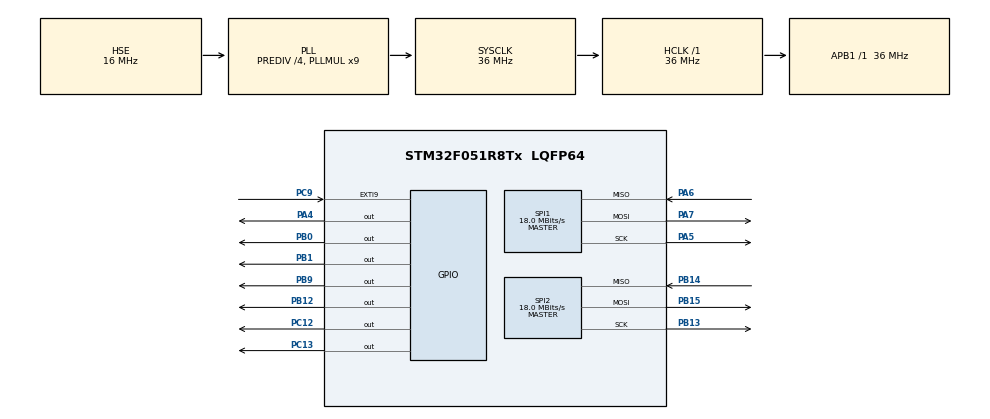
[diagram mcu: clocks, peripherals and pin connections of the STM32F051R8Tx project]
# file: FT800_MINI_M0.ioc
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FATFS._FS_MINIMIZE=1
FATFS._MAX_LFN=128
FATFS._USE_MKFS=0
FATFS._USE_STRFUNC=0
Mcu.Family=STM32F0
Mcu.Name=STM32F051R8Tx
Mcu.Package=LQFP64
NVIC.EXTI4_15_IRQn=true\:0\:0\:false\:false\:true\:true\:true
PA4.GPIO_Speed=GPIO_SPEED_FREQ_HIGH
PA4.Signal=GPIO_Output
PA5.Mode=Full_Duplex_Master
PA5.Signal=SPI1_SCK
PA6.Mode=Full_Duplex_Master
PA6.Signal=SPI1_MISO
PA7.Mode=Full_Duplex_Master
PA7.Signal=SPI1_MOSI
PB0.GPIO_Speed=GPIO_SPEED_FREQ_HIGH
PB0.Signal=GPIO_Output
PB1.GPIO_Speed=GPIO_SPEED_FREQ_HIGH
PB1.Signal=GPIO_Output
PB12.GPIO_Speed=GPIO_SPEED_FREQ_HIGH
PB12.Signal=GPIO_Output
PB13.Mode=Full_Duplex_Master
PB13.Signal=SPI2_SCK
PB14.Mode=Full_Duplex_Master
PB14.Signal=SPI2_MISO
PB15.Mode=Full_Duplex_Master
PB15.Signal=SPI2_MOSI
PB9.GPIO_FM9=__NULL
PB9.GPIO_Speed=GPIO_SPEED_FREQ_HIGH
PB9.Signal=GPIO_Output
PC12.GPIO_Speed=GPIO_SPEED_FREQ_LOW
PC12.Signal=GPIO_Output
PC13.PinState=GPIO_PIN_RESET
PC13.Signal=GPIO_Output
PC9.GPIO_ModeDefaultEXTI=GPIO_MODE_IT_FALLING
PC9.Signal=GPXTI9
PF0-OSC_IN.Mode=HSE-External-Oscillator
PF0-OSC_IN.Signal=RCC_OSC_IN
PF1-OSC_OUT.Mode=HSE-External-Oscillator
PF1-OSC_OUT.Signal=RCC_OSC_OUT
ProjectManager.HeapSize=0x200
ProjectManager.StackSize=0x400
ProjectManager.TargetToolchain=STM32CubeIDE
RCC.AHBFreq_Value=36000000
RCC.APB1Freq_Value=36000000
RCC.APB1TimFreq_Value=36000000
RCC.HCLKFreq_Value=36000000
RCC.HSE_VALUE=16000000
RCC.PLLDivider=RCC_PREDIV_DIV4
RCC.PLLMUL=RCC_PLL_MUL9
RCC.PLLSourceVirtual=RCC_PLLSOURCE_HSE
RCC.SYSCLKFreq_VALUE=36000000
RCC.SYSCLKSource=RCC_SYSCLKSOURCE_PLLCLK
SPI1.BaudRatePrescaler=SPI_BAUDRATEPRESCALER_2
SPI1.CalculateBaudRate=18.0 MBits/s
SPI1.DataSize=SPI_DATASIZE_8BIT
SPI1.Direction=SPI_DIRECTION_2LINES
SPI1.Mode=SPI_MODE_MASTER
SPI1.NSSPMode=SPI_NSS_PULSE_DISABLE
SPI1.VirtualType=VM_MASTER
SPI2.BaudRatePrescaler=SPI_BAUDRATEPRESCALER_2
SPI2.CalculateBaudRate=18.0 MBits/s
SPI2.DataSize=SPI_DATASIZE_8BIT
SPI2.Direction=SPI_DIRECTION_2LINES
SPI2.Mode=SPI_MODE_MASTER
SPI2.NSSPMode=SPI_NSS_PULSE_DISABLE
SPI2.VirtualType=VM_MASTER
VP_FATFS_VS_Generic.Mode=User_defined
board=custom

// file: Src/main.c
/* USER CODE BEGIN Header */
/**
  ******************************************************************************
  * @file           : main.c
  * @brief          : Main program body
  ******************************************************************************
  * @attention
  *
  * <h2><center>&copy; Copyright (c) 2021 STMicroelectronics.
  * All rights reserved.</center></h2>
  *
  * This software component is licensed by ST under BSD 3-Clause license,
  * the "License"; You may not use this file except in compliance with the
  * License. You may obtain a copy of the License at:
  *                        opensource.org/licenses/BSD-3-Clause
  *
  ******************************************************************************
  */
/* USER CODE END Header */

#include "main.h"
#include "fatfs.h"

/* USER CODE BEGIN Includes */
#include "my_delays.h"
#include "string.h"
#include "stdio.h"
#include "FT800_Graphics.h"
#include "FT800_Colors.h"
#include "FT800_Audio.h"
#include "FT800_SD.h"

#include "fatfs.h"
#include "user_diskio.h"
#include "ff.h"
/* USER CODE END Includes */

SPI_HandleTypeDef hspi1;
SPI_HandleTypeDef hspi2;

/* USER CODE BEGIN PV */
//MINI BOARD BUILTIN LEDs
//Set as output in CubeMX
#define DATA_LED(bit) ((bit==1)?(GPIOC->BSRR=(GPIO_PIN_12)):(GPIOC->BSRR=(uint32_t)(GPIO_PIN_12<<16)))
#define STAT_LED(bit) ((bit==1)?(GPIOC->BSRR=(GPIO_PIN_13)):(GPIOC->BSRR=(uint32_t)(GPIO_PIN_13<<16)))
//OPTOLAB BOARD BUILTIN LEDs
//Set as output in CubeMX
#define D5_LED(bit) ((bit==1)?(GPIOB->BSRR=(GPIO_PIN_0)):(GPIOB->BSRR=(uint32_t)(GPIO_PIN_0<<16)))
#define D6_LED(bit) ((bit==1)?(GPIOB->BSRR=(GPIO_PIN_1)):(GPIOB->BSRR=(uint32_t)(GPIO_PIN_1<<16)))
//--------------------------------------

#define MAIN_MENU   (0x01|0x80)
#define PRIMITIVES  (0x02|0x80)
#define BARS        (0x03|0x80)
#define KNOBS       (0x04|0x80)
#define GRADIENT    (0x05|0x80)
#define KEYS        (0x06|0x80)
#define SOUND       (0x07|0x80)
#define BMP         (0x08|0x80)
#define WAV         (0x09|0x80)
#define JPG         (0x0A|0x80)
#define TRANSFORM   (0x0B|0x80)
#define SKETCH      (0x0C|0x80)
#define SCRSAVER    (0x0D|0x80)

#define SLIDER      0x01
#define SCROLL_V    0x02
#define SCROLL_H    0x03
#define DIAL        0x04
#define TOGGLE      0x05
#define KEY         0x06
#define NOTES       0x07
#define SLIDER1     0x08
#define BACKWARD    0x09
#define FORWARD     0x0A
#define NEXT        0x0B
#define PREVIOUS    0x0C
#define PLAY        0x0D
#define SLIDER2     0x0E
#define SCROLL_S    0x0F
#define SCROLL_R    0x10
FATFS myFAT={0};
FRESULT res;
FIL myFile;
char chipid = 0, touched =0;

uint8_t menu=MAIN_MENU, previous_menu=MAIN_MENU, tag;
uint16_t tag_value;

//object variables
uint16_t slider_value=500, scroll_v_value=128, scroll_h_value=256, dial_value=0, toggle_value=0, key_value, prev_key_value;
uint16_t ms=0,sec=0,min=59,hour=11;
uint8_t mute=0;

char MYPath[4];
extern Diskio_drvTypeDef  USER_Driver;
char path[20]={0};

//BMP variables
#define NUM_OF_BMPS 5
const char *bmp_folder="BMP";
const char *bmps[NUM_OF_BMPS]={"im1.bmp","im2.bmp","im3.bmp","im4.bmp","im5.bmp"};
uint8_t bmp_num=1;

//BMP variables
#define NUM_OF_JPGS 5
const char *jpg_folder="JPG";
const char *jpgs[NUM_OF_JPGS]={"jpg1.jpg","jpg2.jpg","jpg3.jpg","jpg4.jpg","jpg5.jpg"};
uint8_t jpg_num=1;

int16_t scale_factor=0, rotate_factor=0;
uint16_t img_width, img_height;
uint8_t img_bytes;

//WAV variables
#define NUM_OF_WAVS 4
const char *wav_folder="WAV";
const char *wavs[NUM_OF_WAVS]={"bells.wav", "dixie.wav","laugh.wav","cowboy.wav"};
uint16_t wav_format, wav_channels, wav_bpc;
uint32_t wav_sample_rate, wav_size;
uint8_t wav_num=0;

uint8_t new_file=0;

char wallpaper[20];
char wallpaper_folder[20];
/* USER CODE END PV */

void SystemClock_Config(void);
static void MX_GPIO_Init(void);
static void MX_SPI1_Init(void);
static void MX_SPI2_Init(void);

/* USER CODE BEGIN 0 */
uint8_t getNote(char key)
{
    uint8_t note=0;

    if(key=='C')note=72;
    if(key=='c')note=73;
    if(key=='D')note=74;
    if(key=='d')note=75;
    if(key=='E')note=76;
    if(key=='F')note=77;
    if(key=='f')note=78;
    if(key=='G')note=79;
    if(key=='g')note=80;
    if(key=='A')note=81;
    if(key=='a')note=82;
    if(key=='B')note=83;

    return note;
}
/* USER CODE END 0 */

int main(void)
{

  /* MCU Configuration--------------------------------------------------------*/

  /* Reset of all peripherals, Initializes the Flash interface and the Systick. */
  HAL_Init();

  /* Configure the system clock */
  SystemClock_Config();

  /* Initialize all configured peripherals */
  MX_GPIO_Init();
  MX_SPI1_Init();
  MX_SPI2_Init();
  MX_FATFS_Init();
  /* USER CODE BEGIN 2 */

  //Test LEDs
  DATA_LED(1); STAT_LED(1);
  D5_LED(1); D6_LED(1);
  delay_ms(1000);
  DATA_LED(0); STAT_LED(0);
  D5_LED(0); D6_LED(0);

  FATFS_UnLinkDriver(USERPath);
  f_mount(0, 0, 1);

  FT800_init();
  HAL_Delay(50);

  FATFS_LinkDriver(&USER_Driver, USERPath);
  res=f_mount(&myFAT,"",0);

  FT800_drawLogo();
  FT800_waitLogo();

  FT800_startNewList();
  FT800_setBackgroundColor(DARKGRAY);
  FT800_clear(CLEAR_ALL);
  FT800_runTouchCalibration();
  FT800_endOfList();

  strcpy(wallpaper_folder,bmp_folder);
  strcpy(wallpaper,bmps[4]);
  sprintf((char*)path, "%s/%s",wallpaper_folder, wallpaper);
  FT800_loadBMPfromSD(0,path, &img_width, &img_height, &img_bytes);
  delay_ms(50);
  /* USER CODE END 2 */

  /* Infinite loop */
  /* USER CODE BEGIN WHILE */
  while (1)
    {
        switch(menu)
        {
            case MAIN_MENU:

                if(previous_menu==WAV||previous_menu==TRANSFORM||previous_menu==SCRSAVER||previous_menu==SKETCH)
                {
                    FT800_finishList();
                    FT800_startNewList();
                    FT800_setBackgroundColor(BLACK);
                    FT800_clear(CLEAR_ALL);
                    FT800_stop();
                    FT800_endOfList();
                    sprintf((char*)path, "%s/%s",wallpaper_folder, wallpaper);
                    if(!strcmp(wallpaper_folder,bmp_folder))
                        FT800_loadBMPfromSD(0,path, &img_width, &img_height, &img_bytes);
                    else
                        FT800_loadJPGfromSD(0,path,&img_width,&img_height);
                }
                previous_menu=MAIN_MENU;

                FT800_finishList();
                FT800_startNewList();
                FT800_setBackgroundColor(BLACK);
                FT800_clear(CLEAR_ALL);
                FT800_tagMask(0);
                FT800_bitmapSource(0);
                FT800_bitmapLayout(RGB565, img_width*img_bytes, img_height);
                FT800_bitmapSize(NEAREST,BORDER,BORDER, img_width, img_height);
                FT800_bitmapBegin();
                FT800_Vertex2II(0,0,0,0);

                FT800_setColorA(50);
                FT800_drawScrollBar(450, 20, 20, 200, DARKGRAY, WHITE, OPT_3D, scroll_v_value, 28, 256, SCROLL_V);
                FT800_drawScrollBar(20, 240, 400, 20, DARKGRAY, WHITE, OPT_3D, scroll_h_value, 28, 512, SCROLL_H);
                int16_t x0=scroll_h_value-256;
                int16_t y0=scroll_v_value-128;
                FT800_drawScissorXY(0, 0);
                FT800_drawScissorSize(440, 230);
                FT800_setColorA(200);
                FT800_drawButton(10+x0,10+y0,100,60,HOTPINK,23,OPT_3D,"Primitives",BLACK, PRIMITIVES);
                FT800_drawButton(150+x0,10+y0,100,60,LIMEGREEN,23,OPT_3D,"Bars",BLACK, BARS);
                FT800_drawButton(290+x0,10+y0,100,60,TOMATO,23,OPT_3D,"Knobs",BLACK, KNOBS);
                FT800_drawButton(10+x0,90+y0,100,60,INDIGO,23,OPT_3D,"Toggle",WHITE, GRADIENT);
                FT800_drawButton(150+x0,90+y0,100,60,GOLD,23,OPT_3D,"Keys",BLACK, KEYS);
                FT800_drawButton(290+x0,90+y0,100,60,CRIMSON,23,OPT_3D,"Sound",WHITE, SOUND);
                FT800_drawButton(10+x0,170+y0,100,60,YELLOWGREEN,23,OPT_3D,"BMP",BLACK, BMP);
                FT800_drawButton(150+x0,170+y0,100,60,PLUM,23,OPT_3D,"WAV",BLACK, WAV);
                FT800_drawButton(290+x0,170+y0,100,60,AQUAMARINE,23,OPT_3D,"JPG",BLACK, JPG);
                FT800_drawButton(10+x0,250+y0,100,60,KHAKI,23,OPT_3D,"Transform",BLACK, TRANSFORM);
                FT800_drawButton(150+x0,250+y0,100,60,TURQUOISE,23,OPT_3D,"Sketch",BLACK, SKETCH);
                FT800_drawButton(290+x0,250+y0,100,60,VIOLET,23,OPT_3D,"Scr. Saver",BLACK, SCRSAVER);
                FT800_setColorA(255);

                FT800_endOfList();
                break;
            case PRIMITIVES:
                FT800_finishList();
                FT800_startNewList();
                FT800_setBackgroundColor(DARKGRAY);
                FT800_clear(CLEAR_ALL);
                FT800_tagMask(0);

                short xs[10]={0, 50, 100, 150, 200, 250, 300, 350, 400, 472};
                short ys[10]={0, 200, 10, 50, 100, 150, 20, 40, 100, 0};
                FT800_drawEdgeLineStrip(xs, ys, 10, 'A', DARKGRAY);
                FT800_drawEdgeLineStrip(xs, ys, 10, 'B', LIGHTGRAY);
                FT800_drawLineStrip(xs, ys, 10,BLACK,80);
                FT800_drawPoint(300, 136, YELLOW, 1000);
                FT800_drawLine(30,50,400,200,BLUE,320);
                FT800_setColorA(150);
                FT800_drawRectangle(10,100,200,200,GREEN,40);
                FT800_drawPoint(400, 220, RED, 400);
                FT800_setColorA(255);
                FT800_drawLine(30,250,400,50,CYAN,80);
                FT800_drawChar(310,200,25,MAGENTA,'A');
                FT800_drawChar(330,200,31,MAGENTA,'A');

                FT800_drawText(5, 5, 18, ORANGE, OPT_FLAT, "FT800 primitives: points, lines, rectangles");
                FT800_drawButton(445,5,30,30,RED,28,OPT_3D,"X",WHITE, MAIN_MENU);

                FT800_endOfList();
                break;
            case BARS:
                FT800_finishList();
                FT800_startNewList();
                FT800_setBackgroundColor(DARKGRAY);
                FT800_clear(CLEAR_ALL);
                FT800_tagMask(0);

                FT800_drawProgressBar(20, 200, 440, 20, OPT_3D, slider_value, 1024, GREEN, LIGHTGRAY,0);
                FT800_drawDecimalNumb(200, 120, 31, OPT_FLAT, slider_value, YELLOW);
                FT800_drawSlider(20, 60, 440, 20, OPT_3D, slider_value, 1024, BLUE, WHITE, WHITE, SLIDER);

                FT800_drawText(5, 5, 18, ORANGE, OPT_FLAT, "FT800 slider & progress bar");
                FT800_drawButton(445,5,30,30,RED,28,OPT_3D,"X",WHITE, MAIN_MENU);

                FT800_endOfList();
                break;
            case KNOBS:
                FT800_finishList();
                FT800_startNewList();
                FT800_setBackgroundColor(DARKGRAY);
                FT800_clear(CLEAR_ALL);
                FT800_tagMask(0);

                FT800_drawDial(85, 110, 65, OPT_3D, dial_value, BLUE, YELLOW, DIAL);
                FT800_drawGauge(235, 110, 65, OPT_3D, 5, 5, dial_value>>6, 1024, ORANGE, DARKGRAY,0);
                FT800_drawClock(385, 110, 65, RED, OPT_3D, hour, min, sec, ms, WHITE,0);
                FT800_drawDecimalNumb(200, 210, 31, OPT_FLAT, dial_value>>6, YELLOW);
                FT800_drawText(5, 5, 18, ORANGE, OPT_FLAT, "FT800 dial, gauge & clock");
                FT800_drawButton(445,5,30,30,RED,28,OPT_3D,"X",WHITE, MAIN_MENU);

                FT800_endOfList();
                break;
            case GRADIENT:
                FT800_finishList();
                FT800_startNewList();
                FT800_setBackgroundColor(DARKGRAY);
                FT800_clear(CLEAR_ALL);
                FT800_tagMask(0);

                FT800_drawText(5, 5, 18, ORANGE, OPT_FLAT, "FT800 Gradient and Toggle");
                FT800_drawButton(445,5,30,30,RED,28,OPT_3D,"X",WHITE, MAIN_MENU);
                uint32_t c1, c2;
                if(toggle_value>32768)
                {
                    FT800_drawToggle(50, 90, 50, 28, OPT_3D, 65535, "on", DARKGRAY, ORANGE, BLACK,TOGGLE);
                    c1=RED;
                    c2=GREEN;
                }
                else
                {
                    FT800_drawToggle(50, 90, 50, 28, OPT_3D, 0, "off", DARKGRAY, ORANGE, BLACK,TOGGLE);
                    c1=GREEN;
                    c2=RED;
                }
                FT800_drawScissorXY(30, 150);
                FT800_drawScissorSize(410, 90);
                FT800_drawGradient(30, 150, c1, 440, 150, c2);

                FT800_endOfList();
                break;
            case KEYS:
                FT800_finishList();
                FT800_startNewList();
                FT800_setBackgroundColor(DARKGRAY);
                FT800_clear(CLEAR_ALL);
                FT800_tagMask(0);

                key_value=FT800_Read8(REG_TOUCH_TAG);
                FT800_drawKeys(30, 150, 400, 50, LIGHTGRAY, 25, key_value, "ABCDEFGH", BLUE, KEYS);
                FT800_drawKeys(55, 202, 350, 50, LIGHTGRAY, 25, key_value, "1234567", BLUE, KEYS);
                if(key_value)FT800_drawChar(220,50,31,ORANGE,key_value);
                FT800_drawText(5, 5, 18, ORANGE, OPT_FLAT, "FT800 keys");
                FT800_drawButton(445,5,30,30,RED,28,OPT_3D,"X",WHITE, MAIN_MENU);

                FT800_endOfList();
                break;
            case SOUND:
                FT800_finishList();
                FT800_startNewList();
                FT800_setBackgroundColor(DARKGRAY);
                FT800_clear(CLEAR_ALL);
                FT800_tagMask(0);
                mute=1;

                prev_key_value=key_value;
                key_value=FT800_Read8(REG_TOUCH_TAG);

                FT800_drawKeys(30, 170, 410, 100, WHITE, 25, key_value, "CDEFGAB", BLACK, NOTES);
                FT800_drawKeys(30+30, 130, 110, 60, BLACK, 25, key_value, "cd", WHITE, NOTES);
                FT800_drawKeys(30+180+30, 130, 156, 60, BLACK, 25, key_value, "fga", WHITE, NOTES);
                if(key_value)FT800_drawChar(350,30,31,ORANGE,key_value);
                FT800_drawText(40, 60, 18, ORANGE, OPT_FLAT, "Volume");
                FT800_drawSlider(40, 90, 390, 10, OPT_3D, slider_value, 1024, ORANGE, DARKGRAY, WHITE, SLIDER1);

                FT800_setSoundVolume(slider_value>>2);
                if(key_value!=prev_key_value)
                {

                    if(key_value)
                        FT800_setSoundEffect(getNote(key_value),0x02);
                    else
                        FT800_setSoundEffect(getNote(key_value),0x00);
                    FT800_playSound(1);

                }
                FT800_drawText(5, 5, 18, ORANGE, OPT_FLAT, "FT800 sound synthesizer");
                FT800_drawButton(445,5,30,30,RED,28,OPT_3D,"X",WHITE, MAIN_MENU);

                FT800_endOfList();
                break;
            case BMP:
                if((previous_menu==MAIN_MENU)||new_file)
                {
                    new_file=0;
                    FT800_finishList();
                    FT800_startNewList();
                    FT800_setBackgroundColor(BLACK);
                    FT800_clear(CLEAR_ALL);
                    FT800_drawText(205, 20, 23, WHITE, OPT_FLAT, "Loading...");
                    FT800_drawAnimSpinner(240,136,0,1);
                    FT800_endOfList();
                    sprintf((char*)path, "%s/%s",bmp_folder, bmps[bmp_num]);
                    FT800_loadBMPfromSD(0,path , &img_width, &img_height, &img_bytes);
                    strcpy(wallpaper_folder,bmp_folder);
                    strcpy(wallpaper,bmps[bmp_num]);
                }
                previous_menu=BMP;

                FT800_finishList();
                FT800_startNewList();
                FT800_setBackgroundColor(BLACK);
                FT800_clear(CLEAR_ALL);
                FT800_tagMask(0);

                FT800_bitmapSource(0);
                FT800_bitmapLayout(RGB565, img_width*img_bytes, img_height);
                FT800_bitmapSize(NEAREST,BORDER,BORDER, img_width, img_height);
                FT800_bitmapBegin();
                FT800_Vertex2II(0,0,0,0);

                FT800_setColorA(100);
                FT800_drawButton(445,5,30,30,LIGHTGRAY,28,OPT_3D,"X",BLACK, MAIN_MENU);
                FT800_drawButton(190,230,40,40,LIGHTGRAY,30,OPT_3D,"<",BLACK, BACKWARD);
                FT800_drawButton(250,230,40,40,LIGHTGRAY,30,OPT_3D,">",BLACK, FORWARD);
                FT800_setColorA(255);

                FT800_endOfList();
                break;
            case WAV:
                if(previous_menu==MAIN_MENU)
                {
                    FT800_finishList();
                    FT800_startNewList();
                    FT800_setBackgroundColor(BLACK);
                    FT800_clear(CLEAR_ALL);
                    FT800_endOfList();
                    sprintf((char*)path, "%s/%s",wav_folder, wavs[wav_num]);
                    FT800_loadWAVfromSD(0, path, &wav_format, &wav_channels, &wav_sample_rate, &wav_bpc, &wav_size);
                    FT800_setPlaybackVolume(128);
                    slider_value=512;
                }
                previous_menu=WAV;

                if(new_file)
                {
                    new_file=0;
                    sprintf((char*)path, "%s/%s", wav_folder, wavs[wav_num]);
                    FT800_loadWAVfromSD(0, path, &wav_format, &wav_channels, &wav_sample_rate, &wav_bpc, &wav_size);
                }

                FT800_finishList();
                FT800_startNewList();
                FT800_setBackgroundColor(ORANGE);
                FT800_clear(CLEAR_ALL);
                FT800_tagMask(0);
                FT800_drawText(10, 10, 18, BLACK, OPT_FLAT, wavs[wav_num]);
                FT800_drawText(20, 30, 18, DARKGRAY, OPT_FLAT, "FORMAT:  (0-PCM, 1-uLAW, 2-ADPCM)");
                FT800_drawText(20, 50, 18, DARKGRAY, OPT_FLAT, "CHANNELS:  (1-MONO, 2-STEREO)");
                FT800_drawText(20, 70, 18, DARKGRAY, OPT_FLAT, "SAMPLE RATE [Hz]:");
                FT800_drawText(20, 90, 18, DARKGRAY, OPT_FLAT, "BITS:");
                FT800_drawText(20, 110, 18, DARKGRAY, OPT_FLAT, "BYTES[KB]:     (MAX 256)");
                FT800_drawDecimalNumb(80, 30, 18, OPT_FLAT, wav_format, BLACK);
                FT800_drawDecimalNumb(95, 50, 18, OPT_FLAT, wav_channels, BLACK);
                FT800_drawDecimalNumb(160, 70, 18, OPT_FLAT, wav_sample_rate, BLACK);
                FT800_drawDecimalNumb(65, 90, 18, OPT_FLAT, wav_bpc, BLACK);
                FT800_drawDecimalNumb(95, 110, 18, OPT_FLAT, wav_size>>10, BLACK);

                FT800_drawSlider(40, 160, 390, 10, OPT_3D, slider_value, 1024, DARKGRAY, LIGHTGRAY, WHITE, SLIDER2);
                FT800_drawButton(445,5,30,30,RED,28,OPT_3D,"X",WHITE, MAIN_MENU);
                FT800_drawButton(170,200,60,60,DARKGRAY,30,OPT_3D,"<",ORANGE, PREVIOUS);
                FT800_drawButton(260,200,60,60,DARKGRAY,30,OPT_3D,">",ORANGE, NEXT);
                FT800_drawButton(320,70,100,60,DARKGRAY,28,OPT_3D,"PLAY",ORANGE, PLAY);

                FT800_endOfList();
                break;
            case JPG:
                if((previous_menu==MAIN_MENU)||new_file)
                {
                    new_file=0;
                    FT800_finishList();
                    FT800_startNewList();
                    FT800_setBackgroundColor(BLACK);
                    FT800_clear(CLEAR_ALL);
                    FT800_drawText(205, 20, 23, WHITE, OPT_FLAT, "Loading...");
                    FT800_drawAnimSpinner(240,136,0,1);
                    FT800_endOfList();
                    sprintf((char*)path, "%s/%s", jpg_folder, jpgs[jpg_num]);
                    FT800_loadJPGfromSD(0,path,&img_width,&img_height);
                    strcpy(wallpaper_folder,jpg_folder);
                    strcpy(wallpaper,jpgs[jpg_num]);
                }
                previous_menu=JPG;

                FT800_finishList();
                FT800_startNewList();
                FT800_setBackgroundColor(BLACK);
                FT800_clear(CLEAR_ALL);
                FT800_tagMask(0);
                FT800_stop();
                FT800_bitmapSource(0);
                FT800_bitmapLayout(RGB565, img_width*2, img_height);
                FT800_bitmapSize(NEAREST,BORDER,BORDER, img_width, img_height);
                FT800_bitmapBegin();
                FT800_Vertex2II(0,0,0,0);

                FT800_setColorA(100);
                FT800_drawButton(445,5,30,30,LIGHTGRAY,28,OPT_3D,"X",BLACK, MAIN_MENU);
                FT800_drawButton(190,230,40,40,LIGHTGRAY,30,OPT_3D,"<",BLACK, BACKWARD);
                FT800_drawButton(250,230,40,40,LIGHTGRAY,30,OPT_3D,">",BLACK, FORWARD);
                FT800_setColorA(255);

                FT800_endOfList();
                break;
            case TRANSFORM:
                if(previous_menu==MAIN_MENU)
                {
                    FT800_finishList();
                    FT800_startNewList();
                    FT800_setBackgroundColor(BLACK);
                    FT800_clear(CLEAR_ALL);
                    FT800_endOfList();
                    sprintf((char*)path, "%s/%s",bmp_folder, "mario.bmp");
                    FT800_loadBMPfromSD(0,path , &img_width, &img_height, &img_bytes);
                }
                previous_menu=TRANSFORM;

                FT800_finishList();
                FT800_startNewList();
                FT800_setBackgroundColor(BLACK);
                FT800_clear(CLEAR_ALL);
                FT800_tagMask(0);

                FT800_drawScrollBar(20, 55, 20, 200, DARKGRAY, ORANGE, OPT_3D, scale_factor, 1, 4, SCROLL_S);
                FT800_drawScrollBar(450, 55, 20, 200, DARKGRAY, ORANGE, OPT_3D, rotate_factor, 10, 1024, SCROLL_R);
                FT800_drawText(5, 5, 18, ORANGE, OPT_FLAT, "FT800 scale and rotate");
                FT800_drawButton(445,5,30,30,RED,28,OPT_3D,"X",WHITE, MAIN_MENU);

                FT800_loadIdentity();
                FT800_scale(scale_factor+1,scale_factor+1);
                FT800_translate((img_width>>1),(img_height>>1));
                FT800_rotate((rotate_factor*360)/1023);
                FT800_translate(-(img_width>>1),-(img_height>>1));
                FT800_setMatrix();

                FT800_bitmapSource(0);
                FT800_bitmapLayout(RGB565, img_width*img_bytes, img_height);
                FT800_bitmapSize(NEAREST,BORDER,BORDER, img_width*(scale_factor+1), img_height*(scale_factor+1));
                FT800_bitmapBegin();
                FT800_Vertex2II((DISPLAY_WIDTH>>1)-(((scale_factor+1)*img_width)>>1),(DISPLAY_HEIGHT>>1)-(((scale_factor+1)*img_height)>>1),0,0);

                FT800_endOfList();
                break;
            case SKETCH:
                FT800_finishList();
                FT800_startNewList();
                FT800_setBackgroundColor(BLACK);
                FT800_clear(CLEAR_ALL);
                FT800_tagMask(0);
                if(previous_menu==MAIN_MENU)
                {
                    FT800_writeMemZero(0, 480 * 272 * 2);
                }
                previous_menu=SKETCH;
                FT800_drawText(5, 5, 18, ORANGE, OPT_FLAT, "FT800 sketch");
                FT800_drawButton(445,5,30,30,RED,28,OPT_3D,"X",WHITE, MAIN_MENU);

                  FT800_drawSketch(0, 0, 480, 272, 0, L1);

                FT800_bitmapSource(0);
                FT800_bitmapLayout(L1, 480/8, 272);
                FT800_bitmapSize(NEAREST,BORDER,BORDER, 480, 272); //92 48
                FT800_bitmapBegin();
                FT800_Vertex2II(0,0,0,0);

                FT800_endOfList();
                break;
            case SCRSAVER:
                if(previous_menu==MAIN_MENU)
                {
                    FT800_finishList();
                    FT800_startNewList();
                    FT800_setBackgroundColor(BLACK);
                    FT800_clear(CLEAR_ALL);
                    FT800_endOfList();
                    sprintf((char*)path, "%s/%s",bmp_folder, "mario.bmp");
                    FT800_loadBMPfromSD(0,path , &img_width, &img_height, &img_bytes);
                }
                previous_menu=SCRSAVER;

                FT800_finishList();
                FT800_startNewList();
                FT800_setBackgroundColor(BLACK);
                FT800_clear(CLEAR_ALL);
                FT800_track(0, 0, 480, 272, MAIN_MENU);

                FT800_drawScreensaver();

                FT800_loadIdentity();
                FT800_scale(2,2);
                FT800_setMatrix();

                FT800_bitmapSource(0);
                FT800_bitmapLayout(RGB565, img_width*img_bytes, img_height);
                FT800_bitmapSize(NEAREST,BORDER,BORDER, img_width*2, img_height*2);
                FT800_bitmapBegin();

                FT800_macro(0);
                FT800_endOfList();

                break;
        }
        if(touched)
        {
            touched=0;
            FT800_clearIntFlags();
            tag = FT800_readTag();

            if(tag)
            {
                if(tag&0x80)
                {
                    mute=0;
                    menu=tag;
                }
                else
                {
                    switch(tag)
                    {
                        case SLIDER:
                            slider_value=FT800_readValue()>>6;
                            break;
                        case SCROLL_V:
                            scroll_v_value=FT800_readValue()>>8;
                            break;
                        case SCROLL_H:
                            scroll_h_value=FT800_readValue()>>7;
                            break;
                        case DIAL:
                            dial_value=FT800_readValue();
                            break;
                        case TOGGLE:
                            toggle_value=FT800_readValue();
                            break;
                        case KEY:
                            break;
                        case NOTES:
                            break;
                        case SLIDER1:
                            mute=0; slider_value=FT800_readValue()>>6;
                            break;
                        case FORWARD:
                            if(menu==BMP)
                            {
                                if(bmp_num==(NUM_OF_BMPS-1))bmp_num=0;
                                else bmp_num++;
                            }
                            if(menu==JPG)
                            {
                                if(jpg_num==(NUM_OF_JPGS-1))jpg_num=0;
                                else jpg_num++;
                            }
                            new_file=1;
                            break;
                          case BACKWARD:
                            if(menu==BMP)
                            {
                                if(bmp_num==0)bmp_num=NUM_OF_BMPS-1;
                                else bmp_num--;
                            }
                            if(menu==JPG)
                            {
                                if(jpg_num==0)jpg_num=NUM_OF_JPGS-1;
                                else jpg_num--;
                            }
                            new_file=1;
                            break;
                        case NEXT:
                            if(wav_num==(NUM_OF_WAVS-1))wav_num=0;
                            else wav_num++;
                            new_file=1;
                            break;
                        case PREVIOUS:
                            if(wav_num==0)wav_num=NUM_OF_WAVS-1;
                            else wav_num--;
                            new_file=1;
                            break;
                        case PLAY:
                            FT800_configurePlayback(0, wav_size, wav_sample_rate, wav_format, 0);
                            FT800_playPlayback(1);
                            break;
                        case SLIDER2:
                            slider_value=FT800_readValue()>>6;
                            FT800_setPlaybackVolume(slider_value>>2);
                            break;
                        case SCROLL_S:
                            scale_factor=FT800_readValue()>>14;
                            break;
                        case SCROLL_R:
                            rotate_factor=FT800_readValue()>>6;
                            break;
                    }
                }
                if(!mute)
                {
                    FT800_setSoundVolume(255);
                    FT800_setSoundEffect(0x6C,0x50);
                    FT800_playSound(1);
                    //while(FT800_isSoundPlaying());
                }

            }
        }
        //for clock testing
        ms+=20;
        if(ms==1000)
        {
            ms=0;
            sec++;
            if(sec==60)
            {
                sec=0;
                min++;
                if(min==60)
                {
                    min=0;
                    hour++;
                    if(hour==12)hour=0;
                }
            }
        }
    /* USER CODE END WHILE */

  }
}

void SystemClock_Config(void)
{
  RCC_OscInitTypeDef RCC_OscInitStruct = {0};
  RCC_ClkInitTypeDef RCC_ClkInitStruct = {0};

  /** Initializes the CPU, AHB and APB busses clocks
  */
  RCC_OscInitStruct.OscillatorType = RCC_OSCILLATORTYPE_HSE;
  RCC_OscInitStruct.HSEState = RCC_HSE_ON;
  RCC_OscInitStruct.PLL.PLLState = RCC_PLL_ON;
  RCC_OscInitStruct.PLL.PLLSource = RCC_PLLSOURCE_HSE;
  RCC_OscInitStruct.PLL.PLLMUL = RCC_PLL_MUL9;
  RCC_OscInitStruct.PLL.PREDIV = RCC_PREDIV_DIV4;
  if (HAL_RCC_OscConfig(&RCC_OscInitStruct) != HAL_OK)
  {
    Error_Handler();
  }
  /** Initializes the CPU, AHB and APB busses clocks
  */
  RCC_ClkInitStruct.ClockType = RCC_CLOCKTYPE_HCLK|RCC_CLOCKTYPE_SYSCLK
                              |RCC_CLOCKTYPE_PCLK1;
  RCC_ClkInitStruct.SYSCLKSource = RCC_SYSCLKSOURCE_PLLCLK;
  RCC_ClkInitStruct.AHBCLKDivider = RCC_SYSCLK_DIV1;
  RCC_ClkInitStruct.APB1CLKDivider = RCC_HCLK_DIV1;

  if (HAL_RCC_ClockConfig(&RCC_ClkInitStruct, FLASH_LATENCY_1) != HAL_OK)
  {
    Error_Handler();
  }
}

static void MX_SPI1_Init(void)
{

  /* SPI1 parameter configuration*/
  hspi1.Instance = SPI1;
  hspi1.Init.Mode = SPI_MODE_MASTER;
  hspi1.Init.Direction = SPI_DIRECTION_2LINES;
  hspi1.Init.DataSize = SPI_DATASIZE_8BIT;
  hspi1.Init.CLKPolarity = SPI_POLARITY_LOW;
  hspi1.Init.CLKPhase = SPI_PHASE_1EDGE;
  hspi1.Init.NSS = SPI_NSS_SOFT;
  hspi1.Init.BaudRatePrescaler = SPI_BAUDRATEPRESCALER_2;
  hspi1.Init.FirstBit = SPI_FIRSTBIT_MSB;
  hspi1.Init.TIMode = SPI_TIMODE_DISABLE;
  hspi1.Init.CRCCalculation = SPI_CRCCALCULATION_DISABLE;
  hspi1.Init.CRCPolynomial = 7;
  hspi1.Init.CRCLength = SPI_CRC_LENGTH_DATASIZE;
  hspi1.Init.NSSPMode = SPI_NSS_PULSE_DISABLE;
  if (HAL_SPI_Init(&hspi1) != HAL_OK)
  {
    Error_Handler();
  }

}

static void MX_SPI2_Init(void)
{

  /* SPI2 parameter configuration*/
  hspi2.Instance = SPI2;
  hspi2.Init.Mode = SPI_MODE_MASTER;
  hspi2.Init.Direction = SPI_DIRECTION_2LINES;
  hspi2.Init.DataSize = SPI_DATASIZE_8BIT;
  hspi2.Init.CLKPolarity = SPI_POLARITY_LOW;
  hspi2.Init.CLKPhase = SPI_PHASE_1EDGE;
  hspi2.Init.NSS = SPI_NSS_SOFT;
  hspi2.Init.BaudRatePrescaler = SPI_BAUDRATEPRESCALER_2;
  hspi2.Init.FirstBit = SPI_FIRSTBIT_MSB;
  hspi2.Init.TIMode = SPI_TIMODE_DISABLE;
  hspi2.Init.CRCCalculation = SPI_CRCCALCULATION_DISABLE;
  hspi2.Init.CRCPolynomial = 7;
  hspi2.Init.CRCLength = SPI_CRC_LENGTH_DATASIZE;
  hspi2.Init.NSSPMode = SPI_NSS_PULSE_DISABLE;
  if (HAL_SPI_Init(&hspi2) != HAL_OK)
  {
    Error_Handler();
  }

}

static void MX_GPIO_Init(void)
{
  GPIO_InitTypeDef GPIO_InitStruct = {0};

  /* GPIO Ports Clock Enable */
  __HAL_RCC_GPIOC_CLK_ENABLE();
  __HAL_RCC_GPIOF_CLK_ENABLE();
  __HAL_RCC_GPIOA_CLK_ENABLE();
  __HAL_RCC_GPIOB_CLK_ENABLE();

  /*Configure GPIO pin Output Level */
  HAL_GPIO_WritePin(GPIOC, GPIO_PIN_13|GPIO_PIN_12, GPIO_PIN_RESET);

  /*Configure GPIO pin Output Level */
  HAL_GPIO_WritePin(GPIOA, GPIO_PIN_4, GPIO_PIN_RESET);

  /*Configure GPIO pin Output Level */
  HAL_GPIO_WritePin(GPIOB, GPIO_PIN_0|GPIO_PIN_1|GPIO_PIN_12|GPIO_PIN_9, GPIO_PIN_RESET);

  /*Configure GPIO pins : PC13 PC12 */
  GPIO_InitStruct.Pin = GPIO_PIN_13|GPIO_PIN_12;
  GPIO_InitStruct.Mode = GPIO_MODE_OUTPUT_PP;
  GPIO_InitStruct.Pull = GPIO_NOPULL;
  GPIO_InitStruct.Speed = GPIO_SPEED_FREQ_LOW;
  HAL_GPIO_Init(GPIOC, &GPIO_InitStruct);

  /*Configure GPIO pin : PA4 */
  GPIO_InitStruct.Pin = GPIO_PIN_4;
  GPIO_InitStruct.Mode = GPIO_MODE_OUTPUT_PP;
  GPIO_InitStruct.Pull = GPIO_NOPULL;
  GPIO_InitStruct.Speed = GPIO_SPEED_FREQ_HIGH;
  HAL_GPIO_Init(GPIOA, &GPIO_InitStruct);

  /*Configure GPIO pins : PB0 PB1 PB12 PB9 */
  GPIO_InitStruct.Pin = GPIO_PIN_0|GPIO_PIN_1|GPIO_PIN_12|GPIO_PIN_9;
  GPIO_InitStruct.Mode = GPIO_MODE_OUTPUT_PP;
  GPIO_InitStruct.Pull = GPIO_NOPULL;
  GPIO_InitStruct.Speed = GPIO_SPEED_FREQ_HIGH;
  HAL_GPIO_Init(GPIOB, &GPIO_InitStruct);

  /*Configure GPIO pin : PC9 */
  GPIO_InitStruct.Pin = GPIO_PIN_9;
  GPIO_InitStruct.Mode = GPIO_MODE_IT_FALLING;
  GPIO_InitStruct.Pull = GPIO_NOPULL;
  HAL_GPIO_Init(GPIOC, &GPIO_InitStruct);

  /* EXTI interrupt init*/
  HAL_NVIC_SetPriority(EXTI4_15_IRQn, 0, 0);
  HAL_NVIC_EnableIRQ(EXTI4_15_IRQn);

}

/* USER CODE BEGIN 4 */
void HAL_GPIO_EXTI_Callback(uint16_t GPIO_PIN){
	if(GPIO_PIN == GPIO_PIN_9){
		touched = 1;
	}
	else{
		__NOP();
	}
}
/* USER CODE END 4 */

void Error_Handler(void)
{
}

/************************ (C) COPYRIGHT STMicroelectronics *****END OF FILE****/
